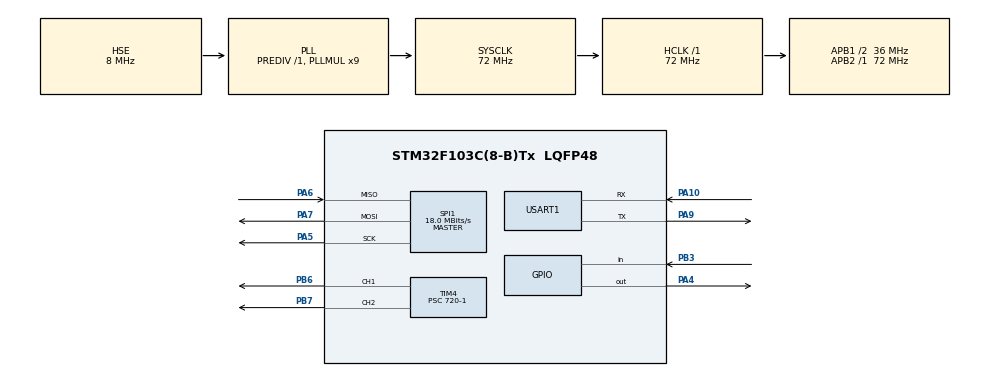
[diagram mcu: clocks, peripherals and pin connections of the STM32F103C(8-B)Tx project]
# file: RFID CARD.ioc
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Mcu.Family=STM32F1
Mcu.Name=STM32F103C(8-B)Tx
Mcu.Package=LQFP48
NVIC.PriorityGroup=NVIC_PRIORITYGROUP_4
NVIC.TIM4_IRQn=true\:0\:0\:false\:false\:true\:true\:true
PA10.Mode=Asynchronous
PA10.Signal=USART1_RX
PA13.Mode=Serial_Wire
PA13.Signal=SYS_JTMS-SWDIO
PA14.Mode=Serial_Wire
PA14.Signal=SYS_JTCK-SWCLK
PA4.Signal=GPIO_Output
PA5.Mode=Full_Duplex_Master
PA5.Signal=SPI1_SCK
PA6.Mode=Full_Duplex_Master
PA6.Signal=SPI1_MISO
PA7.Mode=Full_Duplex_Master
PA7.Signal=SPI1_MOSI
PA9.Mode=Asynchronous
PA9.Signal=USART1_TX
PB3.Signal=GPIO_Input
PB6.Signal=S_TIM4_CH1
PB7.Signal=S_TIM4_CH2
PD0-OSC_IN.Mode=HSE-External-Oscillator
PD0-OSC_IN.Signal=RCC_OSC_IN
PD1-OSC_OUT.Mode=HSE-External-Oscillator
PD1-OSC_OUT.Signal=RCC_OSC_OUT
ProjectManager.HeapSize=0x200
ProjectManager.StackSize=0x400
ProjectManager.TargetToolchain=MDK-ARM V5.32
RCC.AHBFreq_Value=72000000
RCC.APB1CLKDivider=RCC_HCLK_DIV2
RCC.APB1Freq_Value=36000000
RCC.APB1TimFreq_Value=72000000
RCC.APB2Freq_Value=72000000
RCC.APB2TimFreq_Value=72000000
RCC.HCLKFreq_Value=72000000
RCC.PLLMUL=RCC_PLL_MUL9
RCC.PLLSourceVirtual=RCC_PLLSOURCE_HSE
RCC.SYSCLKFreq_VALUE=72000000
RCC.SYSCLKSource=RCC_SYSCLKSOURCE_PLLCLK
RCC.USBFreq_Value=72000000
SH.S_TIM4_CH1.0=TIM4_CH1,PWM Generation1 CH1
SH.S_TIM4_CH2.0=TIM4_CH2,PWM Generation2 CH2
SPI1.BaudRatePrescaler=SPI_BAUDRATEPRESCALER_4
SPI1.CRCCalculation=SPI_CRCCALCULATION_DISABLE
SPI1.CalculateBaudRate=18.0 MBits/s
SPI1.Direction=SPI_DIRECTION_2LINES
SPI1.Mode=SPI_MODE_MASTER
SPI1.VirtualType=VM_MASTER
TIM4.Channel-PWM\ Generation1\ CH1=TIM_CHANNEL_1
TIM4.Channel-PWM\ Generation2\ CH2=TIM_CHANNEL_2
TIM4.Period=1000-1
TIM4.Prescaler=720-1
TIM4.Pulse-PWM\ Generation1\ CH1=500-1
TIM4.Pulse-PWM\ Generation2\ CH2=500-1
USART1.VirtualMode=VM_ASYNC
board=custom

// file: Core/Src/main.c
/* USER CODE BEGIN Header */
/**
  ******************************************************************************
  * @file           : main.c
  * @brief          : Main program body
  ******************************************************************************
  * @attention
  *
  * <h2><center>&copy; Copyright (c) 2021 STMicroelectronics.
  * All rights reserved.</center></h2>
  *
  * This software component is licensed by ST under BSD 3-Clause license,
  * the "License"; You may not use this file except in compliance with the
  * License. You may obtain a copy of the License at:
  *                        opensource.org/licenses/BSD-3-Clause
  *
  ******************************************************************************
  */
/* USER CODE END Header */
#include "main.h"
#include "spi.h"
#include "tim.h"
#include "usart.h"
#include "gpio.h"

/* USER CODE BEGIN Includes */
#include "rc522.h"
#include "stdio.h"
#include "pir_motion_sensor.h"
/* USER CODE END Includes */

/* USER CODE BEGIN PM */
/* printf --> huart1 for debugging */
struct __FILE{
  int handle;
  /* Whatever you require here. If the only file you are using is */
  /* standard output using printf() for debugging, no file handling */
  /* is required. */
};

FILE __stdout;

int fputc(int ch, FILE *f){
	HAL_UART_Transmit(&huart1, (uint8_t *)&ch, 1, 0xFFFF);
  return ch;
}

int ferror(FILE *f){
  /* Your implementation of ferror(). */
  return 0;
}
/* USER CODE END PM */

void SystemClock_Config(void);

/* USER CODE BEGIN 0 */
uint8_t blockAddr;
uint8_t RC_size;

uint8_t sectorKeyA[16][16] = {{0xFF, 0xFF, 0xFF, 0xFF, 0xFF, 0xFF},
                              {0xFF, 0xFF, 0xFF, 0xFF, 0xFF, 0xFF},
                              {0xFF, 0xFF, 0xFF, 0xFF, 0xFF, 0xFF},
                              {0xFF, 0xFF, 0xFF, 0xFF, 0xFF, 0xFF},};

uint8_t status;
uint8_t	str[MFRC522_MAX_LEN];
uint8_t sn[4];
char	buff[64];
uint8_t i;
uint8_t size;
/* USER CODE END 0 */

int main(void)
{

  /* MCU Configuration--------------------------------------------------------*/

  /* Reset of all peripherals, Initializes the Flash interface and the Systick. */
  HAL_Init();

  /* Configure the system clock */
  SystemClock_Config();

  /* Initialize all configured peripherals */
  MX_GPIO_Init();
  MX_SPI1_Init();
  MX_USART1_UART_Init();
  MX_TIM4_Init();
  /* USER CODE BEGIN 2 */
	MFRC522_Init();

	HAL_TIM_PWM_Start(&htim4, TIM_CHANNEL_1);
	HAL_TIM_PWM_Start(&htim4, TIM_CHANNEL_2);

	__HAL_TIM_SetCompare(&htim4, TIM_CHANNEL_1, 0);
	__HAL_TIM_SetCompare(&htim4, TIM_CHANNEL_2, 0);
  /* USER CODE END 2 */

  /* Infinite loop */
  /* USER CODE BEGIN WHILE */
	while (1)
  {
		HAL_GPIO_TogglePin(GPIOC, GPIO_PIN_13);

		//MFRC522_Init();
		size = sprintf(buff, "\033[H\033[2J\r\n");
		printf("%s", buff);

		HAL_Delay(20);

		status = MI_ERR;

		// Look for the card, return type
		status = MFRC522_Request(PICC_REQIDL, str);
		if (status == MI_OK) {
          size = sprintf(buff, "SAK: 0x%02X, 0x%02X\n\r", str[1], str[0]);
          printf("%s", buff);
          HAL_GPIO_TogglePin(GPIOB, GPIO_PIN_6);
    }
		else {
    }

		// Anti-collision, return the card's 4-byte serial number
    status = MFRC522_Anticoll(sn);
    if (status == MI_OK) {
        size = sprintf(buff, "CN: %x%x%x%x\r\n", sn[0],sn[1],sn[2],sn[3]);
        printf("%s", buff);
    }
    else {
    }

		// Election card, return capacity
    RC_size = MFRC522_SelectTag(sn);
    if (RC_size != 0) {
        size = sprintf(buff, "CS: %d\r\n", RC_size);
        printf("%s", buff);
    }
    else {
    }

		// Card reader
    status = MFRC522_Auth(PICC_AUTHENT1A, 11, sectorKeyA[2], sn);
    if (status == MI_OK) {
        // Read data
        status = MFRC522_Read(11, str);
        if (status == MI_OK) {
            size = sprintf(buff, "%02X %02X %02X %02X %02X %02X %02X %02X\r\n", str[0],str[1],str[2],str[3],str[4],str[5],str[6],str[7]);
            printf("%s", buff);
            size = sprintf(buff, "%02X %02X %02X %02X %02X %02X %02X %02X\r\n", str[8],str[9],str[10],str[11],str[12],str[13],str[14],str[15]);
            printf("%s", buff);
						printf("-------------------------------------------------\r\n");

					  // PIR Motion Sensor Check and Control Servo Motors
						PIRMotionSensor pir = get_PIR_status();
						__HAL_TIM_SetCompare(&htim4, TIM_CHANNEL_1, 200);
						__HAL_TIM_SetCompare(&htim4, TIM_CHANNEL_2, 200);
						do {
							__HAL_TIM_SetCompare(&htim4, TIM_CHANNEL_1, 200);
							__HAL_TIM_SetCompare(&htim4, TIM_CHANNEL_2, 200);
							pir = get_PIR_status();
						} while (pir.status != 1);
						HAL_Delay(8000);
						__HAL_TIM_SetCompare(&htim4, TIM_CHANNEL_1, 0);
						__HAL_TIM_SetCompare(&htim4, TIM_CHANNEL_2, 0);
				}
        HAL_GPIO_TogglePin(GPIOB, GPIO_PIN_14);
    }
		else {
		}

    MFRC522_Halt();
    HAL_Delay(200);
    /* USER CODE END WHILE */

  }
}

void SystemClock_Config(void)
{
  RCC_OscInitTypeDef RCC_OscInitStruct = {0};
  RCC_ClkInitTypeDef RCC_ClkInitStruct = {0};

  /** Initializes the RCC Oscillators according to the specified parameters
  * in the RCC_OscInitTypeDef structure.
  */
  RCC_OscInitStruct.OscillatorType = RCC_OSCILLATORTYPE_HSE;
  RCC_OscInitStruct.HSEState = RCC_HSE_ON;
  RCC_OscInitStruct.HSEPredivValue = RCC_HSE_PREDIV_DIV1;
  RCC_OscInitStruct.HSIState = RCC_HSI_ON;
  RCC_OscInitStruct.PLL.PLLState = RCC_PLL_ON;
  RCC_OscInitStruct.PLL.PLLSource = RCC_PLLSOURCE_HSE;
  RCC_OscInitStruct.PLL.PLLMUL = RCC_PLL_MUL9;
  if (HAL_RCC_OscConfig(&RCC_OscInitStruct) != HAL_OK)
  {
    Error_Handler();
  }
  /** Initializes the CPU, AHB and APB buses clocks
  */
  RCC_ClkInitStruct.ClockType = RCC_CLOCKTYPE_HCLK|RCC_CLOCKTYPE_SYSCLK
                              |RCC_CLOCKTYPE_PCLK1|RCC_CLOCKTYPE_PCLK2;
  RCC_ClkInitStruct.SYSCLKSource = RCC_SYSCLKSOURCE_PLLCLK;
  RCC_ClkInitStruct.AHBCLKDivider = RCC_SYSCLK_DIV1;
  RCC_ClkInitStruct.APB1CLKDivider = RCC_HCLK_DIV2;
  RCC_ClkInitStruct.APB2CLKDivider = RCC_HCLK_DIV1;

  if (HAL_RCC_ClockConfig(&RCC_ClkInitStruct, FLASH_LATENCY_2) != HAL_OK)
  {
    Error_Handler();
  }
}

void Error_Handler(void)
{
  __disable_irq();
  while (1)
  {
  }
}

/************************ (C) COPYRIGHT STMicroelectronics *****END OF FILE****/
